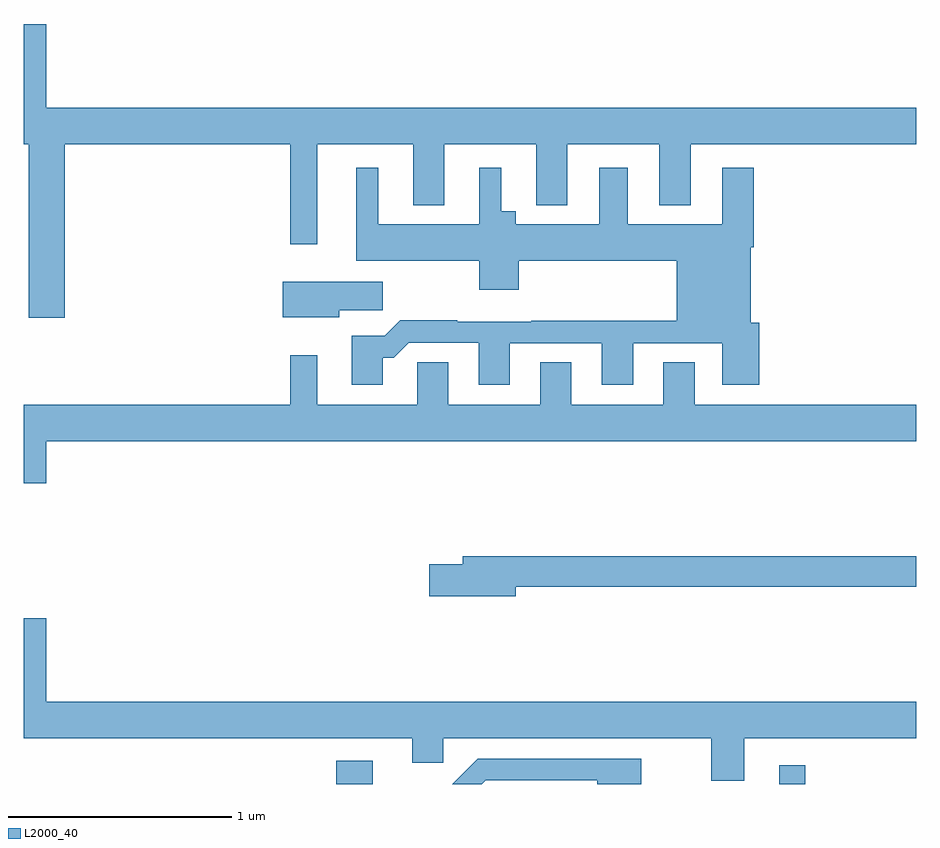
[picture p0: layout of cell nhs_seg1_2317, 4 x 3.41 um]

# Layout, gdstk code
import gdstk
lib = gdstk.Library(unit=1e-6, precision=1e-09)
def R(c, l, rs):  # rectangles x0, y0, x1, y1
    for r in rs: c.add(gdstk.rectangle(r[:2], r[2:], *l))
def P(c, l, *ps):  # polygons
    for p in ps: c.add(gdstk.Polygon(p, *l))
L2000_40 = (2000, 40)

nhs_seg1_2317 = lib.new_cell('nhs_seg1_2317')
R(nhs_seg1_2317, L2000_40, [(238.4,546.199,238.564,546.304), (240.386,546.199,240.503,546.283)])
P(nhs_seg1_2317, L2000_40, [(237.182,549.068),(238.194,549.068),(238.194,548.619),(238.315,548.619),(238.315,549.068),(238.745,549.068),(238.745,548.795),(238.885,548.795),(238.885,549.068),(239.297,549.068),(239.297,548.795),(239.437,548.795),(239.437,549.068),(239.849,549.068),(239.849,548.795),(239.989,548.795),(239.989,549.068),(241,549.068),(241,549.232),(237.1,549.232),(237.1,549.607),(237,549.607),(237,549.068),(237.022,549.068),(237.022,548.289),(237.182,548.289)],
  [(238.609,548.111),(238.658,548.111),(238.725,548.178),(239.039,548.178),(239.039,547.989),(239.179,547.989),(239.179,548.175),(239.591,548.175),(239.591,547.989),(239.731,547.989),(239.731,548.175),(240.131,548.175),(240.131,547.989),(240.296,547.989),(240.296,548.268),(240.259,548.268),(240.259,548.606),(240.272,548.606),(240.272,548.962),(240.131,548.962),(240.131,548.71),(239.707,548.71),(239.707,548.962),(239.579,548.962),(239.579,548.71),(239.206,548.71),(239.206,548.767),(239.14,548.767),(239.14,548.962),(239.042,548.962),(239.042,548.71),(238.588,548.71),(238.588,548.962),(238.49,548.962),(238.49,548.546),(239.041,548.546),(239.041,548.415),(239.219,548.415),(239.219,548.546),(239.927,548.546),(239.927,548.276),(239.275,548.276),(239.275,548.272),(238.943,548.272),(238.943,548.279),(238.688,548.279),(238.618,548.209),(238.469,548.209),(238.469,547.989),(238.609,547.989)],
  [(238.414,548.323),(238.609,548.323),(238.609,548.452),(238.16,548.452),(238.16,548.291),(238.414,548.291)],
  [(237.1,547.736),(241,547.736),(241,547.9),(240.007,547.9),(240.007,548.09),(239.867,548.09),(239.867,547.9),(239.455,547.9),(239.455,548.09),(239.315,548.09),(239.315,547.9),(238.903,547.9),(238.903,548.09),(238.764,548.09),(238.764,547.9),(238.315,547.9),(238.315,548.122),(238.194,548.122),(238.194,547.9),(237,547.9),(237,547.548),(237.1,547.548)],
  [(239.206,547.084),(241,547.084),(241,547.22),(238.967,547.22),(238.967,547.184),(238.818,547.184),(238.818,547.042),(239.206,547.042)],
  [(240.229,546.404),(241,546.404),(241,546.568),(237.1,546.568),(237.1,546.943),(237,546.943),(237,546.404),(238.742,546.404),(238.742,546.294),(238.881,546.294),(238.881,546.404),(240.082,546.404),(240.082,546.214),(240.229,546.214)],
  [(239.07,546.216),(239.57,546.216),(239.57,546.199),(239.768,546.199),(239.768,546.312),(239.034,546.312),(238.921,546.199),(239.053,546.199)])

lib.write_gds('nhs_seg1_2317.gds')
